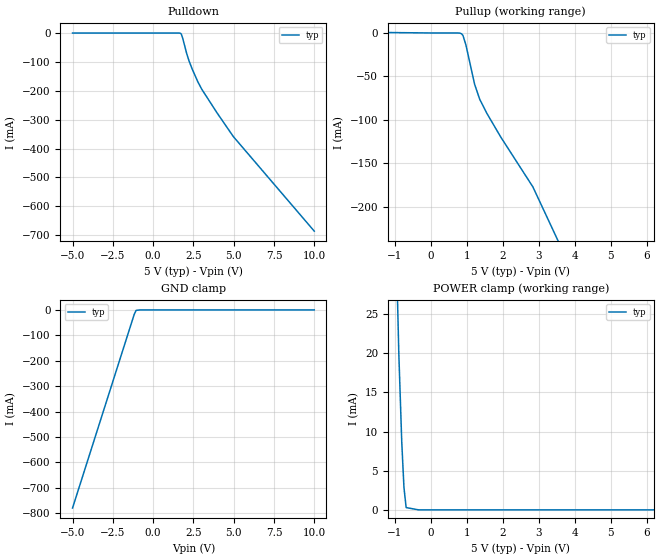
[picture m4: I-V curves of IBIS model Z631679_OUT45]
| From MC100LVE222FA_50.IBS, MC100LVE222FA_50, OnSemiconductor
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| (C) COPYRIGHT 1993-2000
| MENTOR GRAPHICS CORPORATION
| ICX STANDARD LIBRARY, ICX PROJECT MODELING,
| ICX CUSTOM MODELING, ICX VENDOR MODEL
| ALL RIGHTS RESERVED.
| THE FOLLOWING ARE TRADEMARKS OR SERVICE MARKS OF
| MENTOR GRAPHICS CORPORATION:ICX (R), ICX STANDARD
| LIBRARY(R), ICX PROJECT MODELING(R), ICX CUSTOM
| MODELING(R), qualityIBIS(TM), MODELVIEWER(TM),
| AND MODELEDITOR(TM)
| ALL COPIES OF SOFTWARE, INCLUDING BUT NOT LIMITED TO
| ANY MODIFICATIONS, ENHANCEMENTS OR DERIVATIVE WORKS,
| MUST CONTAIN ALL MENTOR GRAPHICS CORPORATION'S
| NOTICES AND LEGENDS, INCLUDING THOSE EMBEDDED IN
| SOFTWARE AND THOSE AFFIXED TO SOFTWARE MEDIUM
| AND CONTAINER, AS RECEIVED FROM MENTOR GRAPHICS
| CORPORATION.
| Model Application Version 1.89 2/18/99.
[Model] Z631679_OUT45
Model_type Output_ECL
Vref=3.000V
Rref=50.00ohms
Cref=0.000F
Vmeas=3.677V
C_comp 8.000pF NA NA
| variable typ   min   max
[Voltage Range] 5.000V NA NA
[POWER Clamp Reference] 5.000V NA NA
[Pullup Reference] 5.000V NA NA
[Pulldown Reference] 5.000V NA NA
[GND Clamp Reference] 0.000V NA NA
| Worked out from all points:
|   POWER clamp passes 1 mA (typ) near -0.71 V on its own axis
[GND Clamp]
-5V       -779.3mA   NA         NA
-1.176V   -18.25mA   NA         NA
-1.054V   -1.6mA     NA         NA
-790.5mV  0A         NA         NA
10V       0A         NA         NA
[Pulldown]
-5V       0A         NA         NA
1.716V    -1.7mA     NA         NA
1.757V    -4.8mA     NA         NA
1.838V    -18.2mA    NA         NA
2.081V    -70.4mA    NA         NA
2.223V    -95.5mA    NA         NA
2.426V    -124.7mA   NA         NA
2.77V     -168.2mA   NA         NA
3.013V    -193.9mA   NA         NA
3.966V    -276.3mA   NA         NA
4.98V     -358.5mA   NA         NA
10V       -685.7mA   NA         NA
[Pullup]
-5V       2.13mA     NA         NA
809mV     -200uA     NA         NA
890mV     -2.8mA     NA         NA
971mV     -13.5mA    NA         NA
1.214V    -58.9mA    NA         NA
1.356V    -76.2mA    NA         NA
1.559V    -92.7mA    NA         NA
1.944V    -119.8mA   NA         NA
2.836V    -177mA     NA         NA
10V       -811.1mA   NA         NA
[POWER Clamp]
-5V       1.904A     NA         NA
-1.137V   75.1mA     NA         NA
-1.036V   46.45mA    NA         NA
-894mV    19.81mA    NA         NA
-813mV    8.64mA     NA         NA
-752mV    2.866mA    NA         NA
-691mV    291.5uA    NA         NA
-345.5mV  0A         NA         NA
10V       0A         NA         NA
[Ramp]
| variable typ min max
dV/dt_r 291.5m/272.3p NA NA
dV/dt_f 291.5m/224.3p NA NA
R_load = 50.00Ohms
